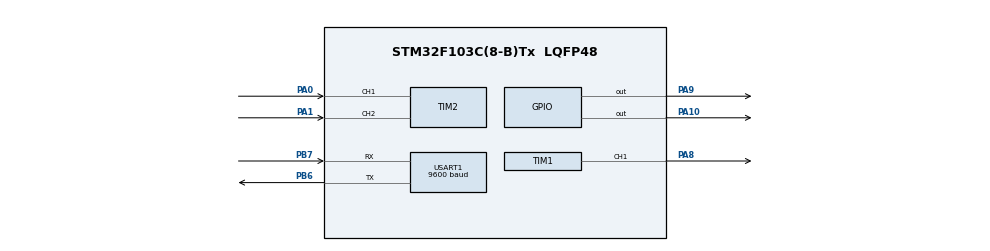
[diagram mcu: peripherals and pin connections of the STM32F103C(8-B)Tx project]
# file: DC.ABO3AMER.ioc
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Mcu.Family=STM32F1
Mcu.Name=STM32F103C(8-B)Tx
Mcu.Package=LQFP48
NVIC.PriorityGroup=NVIC_PRIORITYGROUP_4
NVIC.TIM3_IRQn=true\:0\:0\:false\:false\:true\:true\:true\:true
NVIC.USART1_IRQn=true\:0\:0\:false\:false\:true\:true\:true\:true
PA0-WKUP.Signal=S_TIM2_CH1_ETR
PA1.Signal=S_TIM2_CH2
PA10.Signal=GPIO_Output
PA13.Mode=Serial_Wire
PA13.Signal=SYS_JTMS-SWDIO
PA14.Mode=Serial_Wire
PA14.Signal=SYS_JTCK-SWCLK
PA8.Signal=S_TIM1_CH1
PA9.Signal=GPIO_Output
PB6.Mode=Asynchronous
PB6.Signal=USART1_TX
PB7.Mode=Asynchronous
PB7.Signal=USART1_RX
PD0-OSC_IN.Mode=HSE-External-Oscillator
PD0-OSC_IN.Signal=RCC_OSC_IN
PD1-OSC_OUT.Mode=HSE-External-Oscillator
PD1-OSC_OUT.Signal=RCC_OSC_OUT
ProjectManager.HeapSize=0x200
ProjectManager.StackSize=0x400
ProjectManager.TargetToolchain=STM32CubeIDE
RCC.AHBFreq_Value=72000000
RCC.APB1CLKDivider=RCC_HCLK_DIV2
RCC.APB1Freq_Value=36000000
RCC.APB1TimFreq_Value=72000000
RCC.APB2Freq_Value=72000000
RCC.APB2TimFreq_Value=72000000
RCC.HCLKFreq_Value=72000000
RCC.PLLMUL=RCC_PLL_MUL9
RCC.PLLSourceVirtual=RCC_PLLSOURCE_HSE
RCC.SYSCLKFreq_VALUE=72000000
RCC.SYSCLKSource=RCC_SYSCLKSOURCE_PLLCLK
RCC.USBFreq_Value=72000000
SH.S_TIM1_CH1.0=TIM1_CH1,PWM Generation1 CH1
SH.S_TIM2_CH1_ETR.0=TIM2_CH1,Encoder_Interface
SH.S_TIM2_CH2.0=TIM2_CH2,Encoder_Interface
TIM1.Channel-PWM\ Generation1\ CH1=TIM_CHANNEL_1
TIM1.Period=1000
TIM1.Prescaler=72
TIM3.Period=9999
TIM3.Prescaler=7199
USART1.BaudRate=9600
USART1.VirtualMode=VM_ASYNC
VP_TIM1_VS_ClockSourceINT.Mode=Internal
VP_TIM3_VS_ClockSourceINT.Mode=Internal
board=custom

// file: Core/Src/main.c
/* USER CODE BEGIN Header */
/**
  ******************************************************************************
  * @file           : main.c
  * @brief          : Main program body - Motor Control with PID and Encoder
  ******************************************************************************
  * @attention
  *
  * Copyright (c) 2025 STMicroelectronics.
  * All rights reserved.
  *
  * This software is licensed under terms that can be found in the LICENSE file
  * in the root directory of this software component.
  * If no LICENSE file comes with this software, it is provided AS-IS.
  *
  ******************************************************************************
  */
/* USER CODE END Header */

#include "main.h"
#include <string.h>
#include <stdlib.h>
#include <stdio.h>

TIM_HandleTypeDef htim1;
TIM_HandleTypeDef htim2;
TIM_HandleTypeDef htim3;
UART_HandleTypeDef huart1;

/* USER CODE BEGIN PV */
// UART Communication Buffers
char rx_buffer[20];
int rx_index = 0;
char rx_char;

// Energy and Power Tracking
float total_energy_ws = 0.0f;
float total_ampere_seconds = 0.0f;

// PID Controller Variables
float setpoint = 18.0f;        // Target RPM
float kp = 10.0f;              // Proportional Gain
float ki = 0.5f;               // Integral Gain
float kd = 0.0f;               // Derivative Gain
float integral = 0.0f;
float previous_error = 0.0f;

// Motor State and Constraints
int motor_direction = 1;       // 1 = forward, -1 = reverse
int elapsed_seconds = 0;
float TARGET_REVS = 5.0f;      // Target revolutions
float target_pulses = 0.0f;
int PWM_DUTY = 400;            // Base PWM (0-1000)

// Encoder and RPM
#define PULSES_PER_REV 5500
int total_pulses = 0;
int last_count = 0;
int rpm = 0;
/* USER CODE END PV */

void SystemClock_Config(void);
static void MX_GPIO_Init(void);
static void MX_TIM1_Init(void);
static void MX_TIM2_Init(void);
static void MX_TIM3_Init(void);
static void MX_USART1_UART_Init(void);
void StartMotor(void);
void ParseCommand(char* cmd);

/* USER CODE BEGIN 0 */
void StartMotor(void) {
    // Reset counters and energy metrics
    total_pulses = 0;
    total_energy_ws = 0.0f;
    total_ampere_seconds = 0.0f;

    // Reset PID state
    integral = 0.0f;
    previous_error = 0.0f;

    last_count = 0;
    elapsed_seconds = 0;
    __HAL_TIM_SET_COUNTER(&htim2, 0);

    target_pulses = TARGET_REVS * PULSES_PER_REV;

    // Set Motor Direction
    if (motor_direction == 1) {
        HAL_GPIO_WritePin(GPIOA, GPIO_PIN_9, GPIO_PIN_SET);    // IN1 = 1
        HAL_GPIO_WritePin(GPIOA, GPIO_PIN_10, GPIO_PIN_RESET); // IN2 = 0
    } else {
        HAL_GPIO_WritePin(GPIOA, GPIO_PIN_9, GPIO_PIN_RESET); // IN1 = 0
        HAL_GPIO_WritePin(GPIOA, GPIO_PIN_10, GPIO_PIN_SET);   // IN2 = 1
    }

    // Start PWM and Encoder
    HAL_TIM_PWM_Start(&htim1, TIM_CHANNEL_1);
    __HAL_TIM_SET_COMPARE(&htim1, TIM_CHANNEL_1, PWM_DUTY);
    HAL_TIM_Encoder_Start(&htim2, TIM_CHANNEL_ALL);

    // Start Timer 3 (1-second interrupt)
    HAL_TIM_Base_Start_IT(&htim3);
}

void ParseCommand(char* cmd) {
    if (strncmp(cmd, "start", 5) == 0) {
        StartMotor();
    } else if (strncmp(cmd, "rev:", 4) == 0) {
        TARGET_REVS = atof(&cmd[4]);
        target_pulses = TARGET_REVS * PULSES_PER_REV;
    } else if (strncmp(cmd, "speed:", 6) == 0) {
        PWM_DUTY = atoi(&cmd[6]);
        if (PWM_DUTY > 1000) PWM_DUTY = 1000;
    } else if (strncmp(cmd, "stop", 4) == 0) {
        __HAL_TIM_SET_COMPARE(&htim1, TIM_CHANNEL_1, 0);
        HAL_TIM_Base_Stop_IT(&htim3);
    } else if (strncmp(cmd, "dir:", 4) == 0) {
        motor_direction = (atoi(&cmd[4]) > 0) ? 1 : -1;
    } else if (strncmp(cmd, "target:", 7) == 0) {
        setpoint = atof(&cmd[7]);
    }
}
/* USER CODE END 0 */

int main(void)
{
  HAL_Init();
  SystemClock_Config();

  MX_GPIO_Init();
  MX_TIM1_Init();
  MX_TIM2_Init();
  MX_TIM3_Init();
  MX_USART1_UART_Init();

  // Start UART interrupt reception
  HAL_UART_Receive_IT(&huart1, (uint8_t*)&rx_char, 1);

  while (1)
  {
      // Main loop is empty; tasks are handled via Interrupts (TIM3 and UART)
  }
}

/* USER CODE BEGIN 4 */
void HAL_TIM_PeriodElapsedCallback(TIM_HandleTypeDef *htim) {
    if (htim->Instance == TIM3) {
        // Calculate Delta Pulses
        int current_count = __HAL_TIM_GET_COUNTER(&htim2);
        int delta = (int16_t)(current_count - last_count);
        last_count = current_count;

        total_pulses += abs(delta);
        rpm = (abs(delta) * 60) / PULSES_PER_REV;

        // PID Calculation
        float error = setpoint - rpm;
        integral += error;
        float derivative = error - previous_error;
        float correction = (kp * error) + (ki * integral) + (kd * derivative);
        previous_error = error;

        // Apply Correction to PWM
        int pwm_output = PWM_DUTY + (int)correction;
        if (pwm_output > 1000) pwm_output = 1000;
        if (pwm_output < 0) pwm_output = 0;

        __HAL_TIM_SET_COMPARE(&htim1, TIM_CHANNEL_1, pwm_output);
        elapsed_seconds++;

        // Power and Energy Calculations (Estimated)
        float max_current = 2.0f; // Amps at 100% duty cycle
        float current = max_current * ((float)pwm_output / 1000.0f);
        float voltage = 12.0f;
        float power = voltage * current;

        total_energy_ws += power; // 1s interval
        total_ampere_seconds += current;
        float consumed_mAh = (total_ampere_seconds / 3600.0f) * 1000.0f;

        // Telemetry via UART
        char msg1[60], msg2[60];
        snprintf(msg1, sizeof(msg1), "Time=%d sec | Current=%.2f mAh\r\n", elapsed_seconds, consumed_mAh);
        HAL_UART_Transmit(&huart1, (uint8_t*)msg1, strlen(msg1), 10);

        snprintf(msg2, sizeof(msg2), "RPM=%d | Power=%.2f W\r\n", rpm, power);
        HAL_UART_Transmit(&huart1, (uint8_t*)msg2, strlen(msg2), 10);

        // Check if target revolutions reached
        if (total_pulses >= target_pulses) {
            __HAL_TIM_SET_COMPARE(&htim1, TIM_CHANNEL_1, 0);
            HAL_TIM_Base_Stop_IT(&htim3);
            const char* done_msg = "Target Reached: Stopping Motor\r\n";
            HAL_UART_Transmit(&huart1, (uint8_t*)done_msg, strlen(done_msg), 10);
        }
    }
}

void HAL_UART_RxCpltCallback(UART_HandleTypeDef *huart)
{
    if (huart->Instance == USART1)
    {
        if (rx_char == '\n' || rx_char == '\r')
        {
            rx_buffer[rx_index] = '\0'; // Null-terminate string
            ParseCommand(rx_buffer);
            rx_index = 0;
        }
        else if (rx_index < sizeof(rx_buffer) - 1)
        {
            rx_buffer[rx_index++] = rx_char;
        }

        // Restart interrupt reception
        HAL_UART_Receive_IT(&huart1, (uint8_t*)&rx_char, 1);
    }
}
/* USER CODE END 4 */
